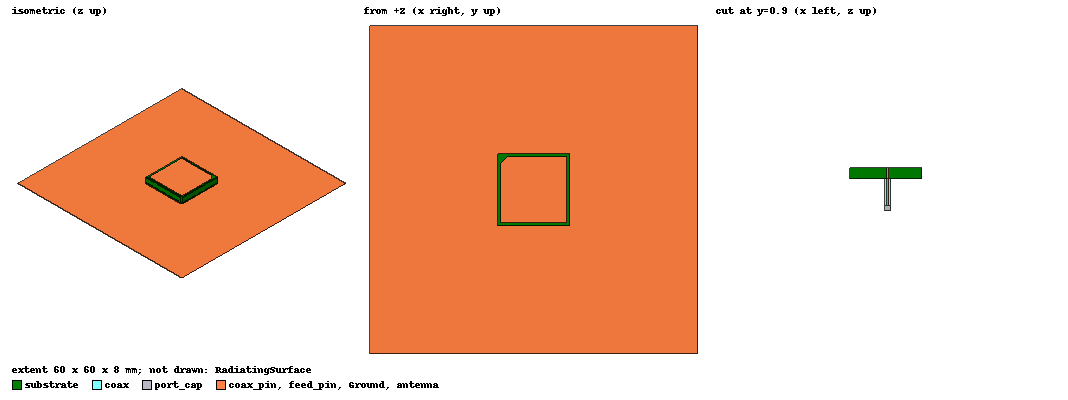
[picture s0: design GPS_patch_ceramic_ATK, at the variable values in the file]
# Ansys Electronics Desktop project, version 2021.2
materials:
  vacuum: permittivity=1
  Ceramic: permittivity=68
  pec: conductivity=1e+30
  Teflon (tm): permittivity=2.1 dielectric_loss_tangent=0.001

design GPS_patch_ceramic_ATK (HFSS, DrivenTerminal, model units mm)
options: Allow_Material_Override Save_Adaptive_support_files open_region{WithHybridAndArrays BoundaryType=0 OpFreq=1.575GHz}
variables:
  # --Antenna Dimensions
  patch_xsize = 12mm
  patch_ysize = 12mm
  cutoff = 1.1mm
  groundplane_xsize = 60mm
  groundplane_ysize = 60mm
  # --Feed Dimensions
  coax_feed_xoffset = -0.4mm
  coax_feed_yoffset = 0.9mm
  coax_inner_pin_radius = 0.167mm
  coax_dielectric_radius = 0.565mm
  feed_length = 5mm
  # --Substrate Dimensions
  substrate_zsize = 2mm
  substrate_xsize = 13mm
  substrate_ysize = 13mm
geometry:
  substrate [Ceramic] = box(corner=(-substrate_xsize/2, -substrate_ysize/2, 0mm), size=(substrate_xsize, substrate_ysize, substrate_zsize))
  Ground = rectangle(corner=(-groundplane_xsize/2, -groundplane_ysize/2, 0mm), x_size=groundplane_xsize, y_size=groundplane_ysize)
  antenna = rectangle(corner=(-patch_xsize/2, -patch_ysize/2, substrate_zsize), x_size=patch_xsize, y_size=patch_ysize)
  NewObject_W0F9TA = polyline(z=substrate_zsize, xy: (-patch_xsize/2, patch_ysize/2) ((-patch_xsize/2)+cutoff, patch_ysize/2) (-patch_xsize/2, (patch_ysize/2)-cutoff) (-patch_xsize/2, patch_ysize/2), closed, covered)
  antenna.subtract(NewObject_W0F9TA)
  NewObject_JFABT8 = circle(normal=Z, centre=(coax_feed_xoffset, coax_feed_yoffset, 0mm), radius=coax_dielectric_radius)
  Ground.subtract(NewObject_JFABT8)
  feed_pin [pec] = cylinder(axis=Z, base_centre=(coax_feed_xoffset, coax_feed_yoffset, 0mm), radius=coax_inner_pin_radius, height=substrate_zsize)
  coax_pin [pec] = cylinder(axis=Z, base_centre=(coax_feed_xoffset, coax_feed_yoffset, -feed_length), radius=coax_inner_pin_radius, height=feed_length)
  coax [Teflon (tm)] = cylinder(axis=Z, base_centre=(coax_feed_xoffset, coax_feed_yoffset, -feed_length), radius=coax_dielectric_radius, height=feed_length)
  port_cap [pec] = cylinder(axis=Z, base_centre=(coax_feed_xoffset, coax_feed_yoffset, -feed_length), radius=coax_dielectric_radius, height=-1mm)
  port1 = circle(normal=Z, centre=(coax_feed_xoffset, coax_feed_yoffset, -feed_length), radius=coax_dielectric_radius)
  RadiatingSurface [vacuum] = region(absolute_offset=63.492063mm on all sides)
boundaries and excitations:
  antennaMetal: Perfect E Objects=antenna
  coax_outer: Perfect E Faces=coax.face(1 of 3)
  groundMetal: Perfect E Objects=Ground
  AutoOpen1: Radiation Objects=RadiatingSurface
  coax_pin_T1: Terminal port=1 Faces=coax_pin.face(2 of 3) TerminalResistance=50ohm
  1: Wave Port Faces=port1.face NumModes=1
  reference conductors: port_cap
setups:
  ATK_Solution: HfssDriven Frequency=1.575GHz MaxDeltaS=0.02 MaximumPasses=15 MinimumPasses=1 MinimumConvergedPasses=1 PercentRefinement=30 BasisOrder=1 PortAccuracy=2 IESolverType=ACA
    sweep FF_Sweep: 1.5GHz to 1.65GHz, 3 points; Type=Discrete SaveFields
    sweep SParam_Sweep: 1.5GHz to 1.65GHz, 100 points; Type=Interpolating InterpTolerance=0.5 InterpMaxSolns=250 PassivityErrorTolerance=0.0001
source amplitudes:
  1:1: 1V 0deg
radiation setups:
  3D: Infinite Sphere Theta=0deg..180deg step 2deg Phi=-180deg..180deg step 2deg
  Elevation: Infinite Sphere Theta=-180deg..180deg step 1deg Phi=0deg..90deg step 90deg
  Azimuth: Infinite Sphere Theta=90deg..90deg step 0deg Phi=-180deg..180deg step 1deg
  ATK_2D: Infinite Sphere Theta=-180deg..180deg step 1deg Phi=0deg..90deg step 90deg
  ATK_3D: Infinite Sphere Theta=-180deg..180deg step 2deg Phi=0deg..180deg step 5deg
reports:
  ff_3D_GainRHCP: dB(GainRHCP) vs Phi, Theta on ATK_Solution : LastAdaptive, ATK_3D [Freq=1.575e+09]
  ff_3D_GainLHCP: dB(GainLHCP) vs Phi, Theta on ATK_Solution : LastAdaptive, ATK_3D [Freq=1.575e+09]
  ff_2D_GainCP: dB(GainRHCP), dB(GainLHCP) vs Theta on ATK_Solution : LastAdaptive, ATK_2D [Phi=all Freq=1.575e+09]
  ff_2D_GainCP_Stacked: dB(GainRHCP), dB(GainLHCP) vs Theta on ATK_Solution : FF_Sweep, ATK_2D [Phi=all Freq=all]
  Return Loss: dB(St11) vs Freq on ATK_Solution : SParam_Sweep
  Input Impedance: St11 on ATK_Solution : SParam_Sweep [Freq=all]
